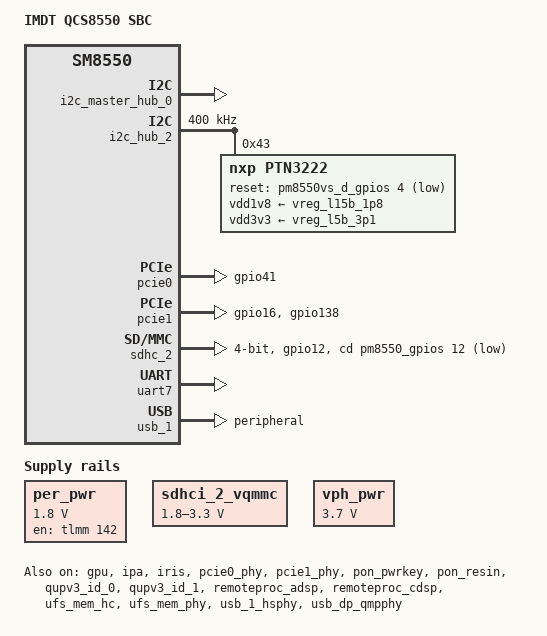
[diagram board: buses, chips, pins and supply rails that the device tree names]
// SPDX-License-Identifier: BSD-3-Clause
/*
 * Copyright (c) 2026 IMD Technologies Ltd
 */

/dts-v1/;

#include "qcs8550-imdt-som.dtsi"

/ {
	model = "IMDT QCS8550 SBC";
	compatible = "imdt,qcs8550-sbc", "imdt,qcs8550-som",
		     "qcom,qcs8550", "qcom,sm8550";
	chassis-type = "embedded";

	aliases {
		serial0 = &uart7;
	};

	chosen {
		stdout-path = "serial0:115200n8";
	};

	/* Enables 5V_PER, 3V3_PER and 1V8_PER rails. These rails
	 * aren't used by anything within the device-tree but are used
	 * for on board logic level conversion and as rails for
	 * pull-ups.
	 */
	per_pwr: regulator-per-pwr {
		compatible = "regulator-fixed";
		regulator-name = "per_pwr";
		regulator-min-microvolt = <1800000>;
		regulator-max-microvolt = <1800000>;

		pinctrl-names = "default";
		pinctrl-0 = <&pwr_per_en_default>;

		gpio = <&tlmm 142 GPIO_ACTIVE_HIGH>;
		enable-active-high;

		regulator-always-on;
		regulator-boot-on;
	};

	sdhci_2_vqmmc: regulator-sdhci-2-vqmmc {
		compatible = "regulator-gpio";

		regulator-name = "sdhci_2_vqmmc";
		regulator-min-microvolt = <1800000>;
		regulator-max-microvolt = <3300000>;
		regulator-type = "voltage";

		pinctrl-names = "default";
		pinctrl-0 = <&sd_vset_default>;

		gpios = <&tlmm 4 GPIO_ACTIVE_HIGH>;
		enable-active-high;

		gpios-states = <0>;
		states = <3300000 0>,
			 <1800000 1>;

		startup-delay-us = <10000>;
	};

	vph_pwr: regulator-vph-pwr {
		compatible = "regulator-fixed";
		regulator-name = "vph_pwr";
		regulator-min-microvolt = <3700000>;
		regulator-max-microvolt = <3700000>;
		regulator-always-on;
		regulator-boot-on;
	};
};

&apps_rsc {
	regulators-0 {
		vdd-bob1-supply = <&vph_pwr>;
		vdd-bob2-supply = <&vph_pwr>;
	};

	regulators-3 {
		vdd-s4-supply = <&vph_pwr>;
		vdd-s5-supply = <&vph_pwr>;
	};

	regulators-4 {
		vdd-s4-supply = <&vph_pwr>;
	};

	regulators-5 {
		vdd-s1-supply = <&vph_pwr>;
		vdd-s2-supply = <&vph_pwr>;
		vdd-s3-supply = <&vph_pwr>;
		vdd-s4-supply = <&vph_pwr>;
		vdd-s5-supply = <&vph_pwr>;
		vdd-s6-supply = <&vph_pwr>;
	};
};

&gpi_dma1 {
	status = "okay";
};

&gpu {
	status = "okay";
};

&gpu_zap_shader {
	firmware-name = "qcom/sm8550/a740_zap.mbn";
	/* Zap shader doesn't load so is disabled */
	status = "disabled";
};

&i2c_master_hub_0 {
	status = "okay";
};

&i2c_hub_2 {
	clock-frequency = <400000>;
	status = "okay";

	ptn3222: redriver@43 {
		compatible = "nxp,ptn3222";
		reg = <0x43>;
		#phy-cells = <0>;

		vdd1v8-supply = <&vreg_l15b_1p8>;
		vdd3v3-supply = <&vreg_l5b_3p1>;

		pinctrl-names = "default";
		pinctrl-0 = <&eusb2_repeater_reset_default>;

		reset-gpios = <&pm8550vs_d_gpios 4 GPIO_ACTIVE_LOW>;
	};
};

&ipa {
	qcom,gsi-loader = "self";
	memory-region = <&ipa_fw_mem>;
	firmware-name = "qcom/sm8550/ipa_fws.mbn";
	status = "okay";
};

&iris {
	status = "okay";
};

&pcie0 {
	wake-gpios = <&tlmm 96 GPIO_ACTIVE_HIGH>;
	perst-gpios = <&tlmm 94 GPIO_ACTIVE_LOW>;

	/*
	 * pcie0 hosts the M.2 Key-E slot. Apply the SDIO
	 * reset de-assert here so any module's chip enable is settled
	 * before pcie0 trains its link.
	 */
	pinctrl-0 = <&pcie0_default_state>, <&m2e_sdio_resetn_default>;
	pinctrl-names = "default";

	status = "okay";
};

&pcie0_phy {
	vdda-phy-supply = <&vreg_l1e_0p88>;
	vdda-pll-supply = <&vreg_l3e_1p2>;

	status = "okay";
};

&pcie1 {
	wake-gpios = <&tlmm 99 GPIO_ACTIVE_HIGH>;
	perst-gpios = <&tlmm 97 GPIO_ACTIVE_LOW>;

	/*
	 * pcie_switch_sel_default and gbe_reset_default are board-init
	 * lines that must be stable before pcie1 trains its link: the
	 * PCIe switch needs its mode-select strap settled, and the
	 * downstream LAN743x must be out of reset to enumerate.
	 * Applying them via pcie1's pinctrl-0 fires them during
	 * qcom-pcie probe, before bus enumeration.
	 */
	pinctrl-0 = <&pcie1_default_state>,
		    <&pcie_switch_sel_default>,
		    <&gbe_reset_default>;
	pinctrl-names = "default";

	status = "okay";
};

&pcie1_phy {
	vdda-phy-supply = <&vreg_l3c_0p9>;
	vdda-pll-supply = <&vreg_l3e_1p2>;
	vdda-qref-supply = <&vreg_l1e_0p88>;

	status = "okay";
};

&pm8550_gpios {
	sd_card_detect_default: sd-card-detect-default-state {
		pins = "gpio12";
		function = "normal";
		input-enable;
		output-disable;
		bias-disable;
		power-source = <1>; /* 1.8 V */
	};
};

&pm8550vs_d_gpios {
	eusb2_repeater_reset_default: eusb2-repeater-reset-default-state {
		pins = "gpio4";
		function = "normal";

		input-enable;
		output-enable;
		bias-disable;

		drive-push-pull;
		power-source = <1>; /* 1.8V */
		qcom,drive-strength = <3>;
	};
};

&pon_pwrkey {
	status = "okay";
};

&pon_resin {
	linux,code = <KEY_VOLUMEDOWN>;

	status = "okay";
};

&qupv3_id_0 {
	status = "okay";
};

&qupv3_id_1 {
	status = "okay";
};

&remoteproc_adsp {
	firmware-name = "qcom/sm8550/adsp.mbn",
			"qcom/sm8550/adsp_dtb.mbn";
	status = "okay";
};

&remoteproc_cdsp {
	firmware-name = "qcom/sm8550/cdsp.mbn",
			"qcom/sm8550/cdsp_dtb.mbn";
	status = "okay";
};

&sdc2_default {
	clk-pins {
		drive-strength = <16>;
	};

	cmd-pins {
		/delete-property/ bias-pull-up;
		bias-disable;
		drive-strength = <16>;
	};

	data-pins {
		/delete-property/ bias-pull-up;
		bias-disable;
		drive-strength = <16>;
	};
};

&sdhc_2 {
	cd-gpios = <&pm8550_gpios 12 GPIO_ACTIVE_LOW>;

	pinctrl-0 = <&sdc2_default>, <&sd_card_detect_default>;
	pinctrl-1 = <&sdc2_default>, <&sd_card_detect_default>;
	pinctrl-names = "default", "sleep";

	vqmmc-supply = <&sdhci_2_vqmmc>;

	bus-width = <4>;
	no-sdio;
	no-mmc;

	status = "okay";
};

&tlmm {
	/* Reserved I/Os for NFC */
	gpio-reserved-ranges = <32 8>;

	pwr_per_en_default: pwr-per-en-default-state {
		pwr-per-en-pins {
			pins = "gpio142";
			function = "gpio";
			drive-strength = <16>;
			bias-disable;
		};
	};

	sd_vset_default: sd-vset-default-state {
		sd-vset-pins {
			pins = "gpio4";
			function = "gpio";
			drive-strength = <16>;
			bias-disable;
		};
	};

	/*
	 * Drive LAN743x reset high (de-asserted) when pcie1 probes,
	 * so the PHY enumerates on the bus.
	 */
	gbe_reset_default: gbe-reset-default-state {
		pins = "gpio138";
		function = "gpio";
		drive-strength = <2>;
		bias-disable;
		output-high;
	};

	/*
	 * We drive this GPIO physically high on the M2 Key-E connector
	 * to make sure the module is enabled. An M2 Key-E module could
	 * be using this pin as a chip enable.
	 */
	m2e_sdio_resetn_default: m2e-sdio-resetn-default-state {
		pins = "gpio41";
		function = "gpio";
		drive-strength = <2>;
		bias-disable;
		output-high;
	};

	/* Force the on-board PCIe switch to select the GbE upstream
	 * port.
	 */
	pcie_switch_sel_default: pcie-switch-sel-default-state {
		pins = "gpio16";
		function = "gpio";
		drive-strength = <2>;
		bias-disable;
		output-low;
	};
};

&uart7 {
	status = "okay";
};

&ufs_mem_hc {
	reset-gpios = <&tlmm 210 GPIO_ACTIVE_LOW>;

	vcc-supply = <&vreg_l17b_2p5>;
	vcc-max-microamp = <1300000>;
	vccq-supply = <&vreg_l1g_1p2>;
	vccq-max-microamp = <1200000>;
	vdd-hba-supply = <&vreg_l3g_1p2>;

	status = "okay";
};

&ufs_mem_phy {
	vdda-phy-supply = <&vreg_l1d_0p88>;
	vdda-pll-supply = <&vreg_l3e_1p2>;

	status = "okay";
};

&usb_1 {
	/delete-property/ usb-role-switch;
	dr_mode = "peripheral";

	status = "okay";
};

&usb_1_hsphy {
	vdd-supply = <&vreg_l1e_0p88>;
	vdda12-supply = <&vreg_l3e_1p2>;

	phys = <&ptn3222>;

	status = "okay";
};

&usb_dp_qmpphy {
	vdda-phy-supply = <&vreg_l3e_1p2>;
	vdda-pll-supply = <&vreg_l3f_0p88>;

	status = "okay";
};
